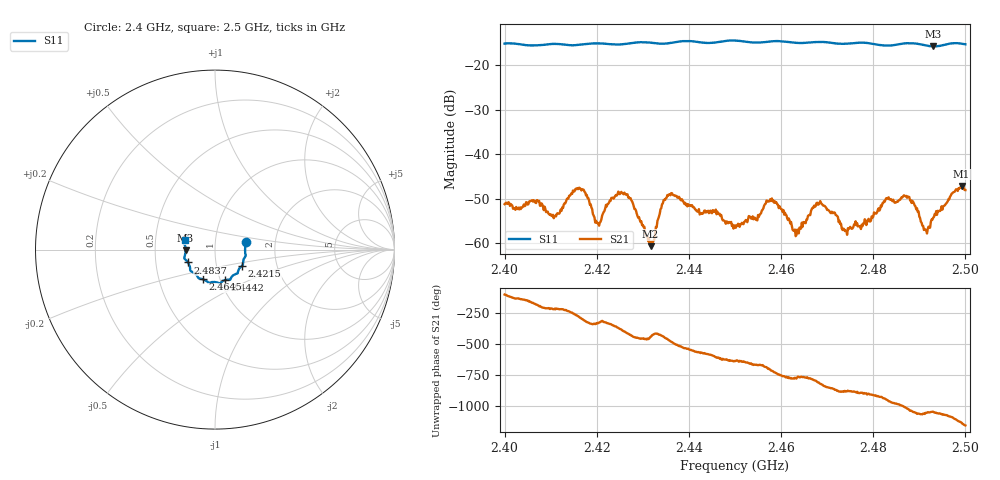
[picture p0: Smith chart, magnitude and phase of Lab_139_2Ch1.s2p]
# Hz S RI R 50
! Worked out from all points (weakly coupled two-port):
!   601 points, 2.4 GHz to 2.5 GHz, reference 50 ohm
!   highest |S21| = -47.16 dB at 2.4992 GHz (marker M1); lowest = -60.7 dB at 2.4317 GHz (marker M2)
!   lowest |S11| = -15.7 dB at 2.493 GHz (marker M3), VSWR 1.39, Z = 35.9 - j0.219 ohm
!   |S11| at or under -10 dB: start of sweep to end of sweep
!   S12 and S22 are empty: the file has one direction only
!   S11 on the Smith chart (normalised r, x): 2.4 GHz: 1.41, +0.12; 2.4215 GHz: 1.33, -0.25; 2.4442 GHz: 1.05, -0.37; 2.4645 GHz: 0.83, -0.29; 2.4837 GHz: 0.73, -0.11; 2.5 GHz: 0.71, +0.07
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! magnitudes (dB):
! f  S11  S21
! 2.4 GHz  -15.1  -51.3
! 2.4108 GHz  -15.2  -54.0
! 2.4167 GHz  -15.3  -48.2
! 2.42 GHz  -15.0  -55.5
! 2.4215 GHz  -15.1  -53.0
! 2.4262 GHz  -15.2  -49.0
! 2.4317 GHz  -14.9  -60.7
! 2.4333 GHz  -15.1  -54.6
! 2.4358 GHz  -15.0  -49.0
! 2.4442 GHz  -15.0  -52.7
! 2.45 GHz  -14.4  -56.0
! 2.4578 GHz  -14.6  -50.4
! 2.4645 GHz  -15.0  -55.4
! 2.4667 GHz  -14.8  -52.4
! 2.4743 GHz  -15.1  -58.2
! 2.4833 GHz  -15.6  -49.7
! 2.4837 GHz  -15.5  -50.2
! 2.4877 GHz  -15.0  -49.6
! 2.4913 GHz  -15.5  -57.1
! 2.493 GHz  -15.7  -54.3
! 2.4992 GHz  -15.1  -47.2
! 2.5 GHz  -15.2  -48.1
